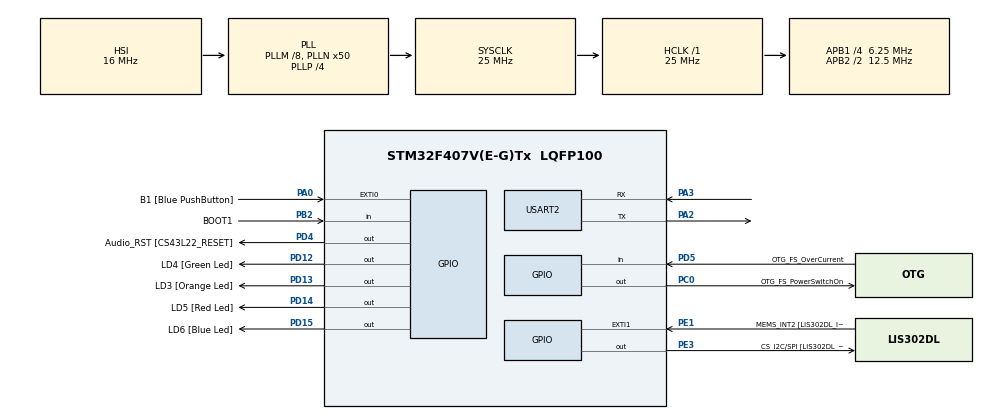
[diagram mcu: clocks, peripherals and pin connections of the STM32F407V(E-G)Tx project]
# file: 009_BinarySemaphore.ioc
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Mcu.Family=STM32F4
Mcu.Name=STM32F407V(E-G)Tx
Mcu.Package=LQFP100
NVIC.PriorityGroup=NVIC_PRIORITYGROUP_4
NVIC.TIM6_DAC_IRQn=true\:15\:0\:false\:false\:true\:false\:true\:true
NVIC.TimeBase=TIM6_DAC_IRQn
NVIC.TimeBaseIP=TIM6
PA0-WKUP.GPIO_Label=B1 [Blue PushButton]
PA0-WKUP.Signal=GPXTI0
PA10.GPIO_Label=OTG_FS_ID
PA10.GPIO_Mode=GPIO_MODE_AF_PP
PA10.GPIO_PuPd=GPIO_NOPULL
PA10.GPIO_Speed=GPIO_SPEED_FREQ_LOW
PA10.Signal=USB_OTG_FS_ID
PA11.GPIO_Label=OTG_FS_DM
PA11.GPIO_Mode=GPIO_MODE_AF_PP
PA11.GPIO_PuPd=GPIO_NOPULL
PA11.GPIO_Speed=GPIO_SPEED_FREQ_LOW
PA11.Signal=USB_OTG_FS_DM
PA12.GPIO_Label=OTG_FS_DP
PA12.GPIO_Mode=GPIO_MODE_AF_PP
PA12.GPIO_PuPd=GPIO_NOPULL
PA12.GPIO_Speed=GPIO_SPEED_FREQ_LOW
PA12.Signal=USB_OTG_FS_DP
PA13.GPIO_Label=SWDIO
PA13.Signal=SYS_JTMS-SWDIO
PA14.GPIO_Label=SWCLK
PA14.Signal=SYS_JTCK-SWCLK
PA2.Mode=Asynchronous
PA2.Signal=USART2_TX
PA3.Mode=Asynchronous
PA3.Signal=USART2_RX
PA4.GPIO_Label=I2S3_WS [CS43L22_LRCK]
PA4.GPIO_Mode=GPIO_MODE_AF_PP
PA4.GPIO_PuPd=GPIO_NOPULL
PA4.GPIO_Speed=GPIO_SPEED_FREQ_LOW
PA4.Signal=I2S3_WS
PA5.GPIO_Label=SPI1_SCK [LIS302DL_SCL/SPC]
PA5.GPIO_Mode=GPIO_MODE_AF_PP
PA5.GPIO_PuPd=GPIO_NOPULL
PA5.GPIO_Speed=GPIO_SPEED_FREQ_LOW
PA5.Signal=SPI1_SCK
PA6.GPIO_Label=SPI1_MISO [LIS302DL_SDO]
PA6.GPIO_Mode=GPIO_MODE_AF_PP
PA6.GPIO_PuPd=GPIO_NOPULL
PA6.GPIO_Speed=GPIO_SPEED_FREQ_LOW
PA6.Signal=SPI1_MISO
PA7.GPIO_Label=SPI1_MOSI [LIS302DL_SDA/SDI/SDO]
PA7.GPIO_Mode=GPIO_MODE_AF_PP
PA7.GPIO_PuPd=GPIO_NOPULL
PA7.GPIO_Speed=GPIO_SPEED_FREQ_LOW
PA7.Signal=SPI1_MOSI
PA9.GPIO_Label=VBUS_FS
PA9.GPIO_Mode=GPIO_MODE_INPUT
PA9.GPIO_PuPd=GPIO_NOPULL
PA9.Signal=USB_OTG_FS_VBUS
PB10.GPIO_Label=CLK_IN [MP45DT02_CLK]
PB10.GPIO_Mode=GPIO_MODE_AF_PP
PB10.GPIO_PuPd=GPIO_NOPULL
PB10.GPIO_Speed=GPIO_SPEED_FREQ_LOW
PB10.Signal=I2S2_CK
PB2.GPIO_Label=BOOT1
PB2.GPIO_Mode=GPIO_MODE_INPUT
PB2.GPIO_PuPd=GPIO_NOPULL
PB2.Signal=GPIO_Input
PB3.GPIO_Label=SWO
PB3.Signal=SYS_JTDO-SWO
PB6.GPIO_Label=Audio_SCL [CS43L22_SCL]
PB6.GPIO_Mode=GPIO_MODE_AF_OD
PB6.GPIO_PuPd=GPIO_NOPULL
PB6.GPIO_Speed=GPIO_SPEED_FREQ_LOW
PB6.Signal=I2C1_SCL
PB9.GPIO_Label=Audio_SDA [CS43L22_SDA]
PB9.GPIO_Mode=GPIO_MODE_AF_OD
PB9.GPIO_PuPd=GPIO_NOPULL
PB9.GPIO_Speed=GPIO_SPEED_FREQ_LOW
PB9.Signal=I2C1_SDA
PC0.GPIO_Label=OTG_FS_PowerSwitchOn
PC0.GPIO_PuPd=GPIO_NOPULL
PC0.GPIO_Speed=GPIO_SPEED_FREQ_LOW
PC0.PinState=GPIO_PIN_SET
PC0.Signal=GPIO_Output
PC10.GPIO_Label=I2S3_SCK [CS43L22_SCLK]
PC10.GPIO_Mode=GPIO_MODE_AF_PP
PC10.GPIO_PuPd=GPIO_NOPULL
PC10.GPIO_Speed=GPIO_SPEED_FREQ_LOW
PC10.Signal=I2S3_CK
PC12.GPIO_Label=I2S3_SD [CS43L22_SDIN]
PC12.GPIO_Mode=GPIO_MODE_AF_PP
PC12.GPIO_PuPd=GPIO_NOPULL
PC12.GPIO_Speed=GPIO_SPEED_FREQ_LOW
PC12.Signal=I2S3_SD
PC14-OSC32_IN.GPIO_Label=PC14-OSC32_IN
PC14-OSC32_IN.Signal=RCC_OSC32_IN
PC15-OSC32_OUT.GPIO_Label=PC15-OSC32_OUT
PC15-OSC32_OUT.Signal=RCC_OSC32_OUT
PC3.GPIO_Label=PDM_OUT [MP45DT02_DOUT]
PC3.GPIO_Mode=GPIO_MODE_AF_PP
PC3.GPIO_PuPd=GPIO_NOPULL
PC3.GPIO_Speed=GPIO_SPEED_FREQ_LOW
PC3.Signal=I2S2_SD
PC7.GPIO_Label=I2S3_MCK [CS43L22_MCLK]
PC7.GPIO_Mode=GPIO_MODE_AF_PP
PC7.GPIO_PuPd=GPIO_NOPULL
PC7.GPIO_Speed=GPIO_SPEED_FREQ_LOW
PC7.Signal=I2S3_MCK
PD12.GPIO_Label=LD4 [Green Led]
PD12.GPIO_PuPd=GPIO_NOPULL
PD12.GPIO_Speed=GPIO_SPEED_FREQ_LOW
PD12.Signal=GPIO_Output
PD13.GPIO_Label=LD3 [Orange Led]
PD13.GPIO_PuPd=GPIO_NOPULL
PD13.GPIO_Speed=GPIO_SPEED_FREQ_LOW
PD13.Signal=GPIO_Output
PD14.GPIO_Label=LD5 [Red Led]
PD14.GPIO_PuPd=GPIO_NOPULL
PD14.GPIO_Speed=GPIO_SPEED_FREQ_LOW
PD14.Signal=GPIO_Output
PD15.GPIO_Label=LD6 [Blue Led]
PD15.GPIO_PuPd=GPIO_NOPULL
PD15.GPIO_Speed=GPIO_SPEED_FREQ_LOW
PD15.Signal=GPIO_Output
PD4.GPIO_Label=Audio_RST [CS43L22_RESET]
PD4.GPIO_PuPd=GPIO_NOPULL
PD4.GPIO_Speed=GPIO_SPEED_FREQ_LOW
PD4.Signal=GPIO_Output
PD5.GPIO_Label=OTG_FS_OverCurrent
PD5.GPIO_Mode=GPIO_MODE_INPUT
PD5.GPIO_PuPd=GPIO_NOPULL
PD5.Signal=GPIO_Input
PE1.GPIO_Label=MEMS_INT2 [LIS302DL_INT2]
PE1.GPIO_ModeDefaultEXTI=GPIO_MODE_EVT_RISING
PE1.GPIO_PuPd=GPIO_NOPULL
PE1.Signal=GPXTI1
PE3.GPIO_Label=CS_I2C/SPI [LIS302DL_CS_I2C/SPI]
PE3.GPIO_PuPd=GPIO_NOPULL
PE3.GPIO_Speed=GPIO_SPEED_FREQ_LOW
PE3.Signal=GPIO_Output
PH0-OSC_IN.GPIO_Label=PH0-OSC_IN
PH0-OSC_IN.Signal=RCC_OSC_IN
PH1-OSC_OUT.GPIO_Label=PH1-OSC_OUT
PH1-OSC_OUT.Signal=RCC_OSC_OUT
ProjectManager.HeapSize=0x200
ProjectManager.StackSize=0x400
ProjectManager.TargetToolchain=STM32CubeIDE
RCC.48MHZClocksFreq_Value=14285714.285714285
RCC.AHBFreq_Value=25000000
RCC.APB1CLKDivider=RCC_HCLK_DIV4
RCC.APB1Freq_Value=6250000
RCC.APB1TimFreq_Value=12500000
RCC.APB2CLKDivider=RCC_HCLK_DIV2
RCC.APB2Freq_Value=12500000
RCC.APB2TimFreq_Value=25000000
RCC.CortexFreq_Value=25000000
RCC.HCLKFreq_Value=25000000
RCC.HSE_VALUE=8000000
RCC.HSI_VALUE=16000000
RCC.LSE_VALUE=32768
RCC.PLLM=8
RCC.PLLN=50
RCC.PLLP=RCC_PLLP_DIV4
RCC.PLLQ=7
RCC.SYSCLKFreq_VALUE=25000000
RCC.SYSCLKSource=RCC_SYSCLKSOURCE_PLLCLK
RCC.VCOOutputFreq_Value=100000000
USART2.VirtualMode=VM_ASYNC
VP_SYS_VS_tim6.Mode=TIM6
board=STM32F407G-DISC1

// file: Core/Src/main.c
/* USER CODE BEGIN Header */
/**
  ******************************************************************************
  * @file           : main.c
  * @brief          : Main program body
  ******************************************************************************
  * @attention
  *
  * Copyright (c) 2025 STMicroelectronics.
  * All rights reserved.
  *
  * This software is licensed under terms that can be found in the LICENSE file
  * in the root directory of this software component.
  * If no LICENSE file comes with this software, it is provided AS-IS.
  *
  ******************************************************************************
  */
/* USER CODE END Header */
#include "main.h"

/* USER CODE BEGIN Includes */
#include "FreeRTOS.h"
#include "task.h"
#include "semphr.h"
#include "queue.h"
#include <stdio.h>
#include <stdlib.h>
#include <string.h>
/* USER CODE END Includes */

UART_HandleTypeDef huart2;

void SystemClock_Config(void);
static void MX_GPIO_Init(void);
static void MX_USART2_UART_Init(void);

/* USER CODE BEGIN 0 */
char usr_msg[250]={0};

TaskHandle_t xTaskHandleM = NULL;
TaskHandle_t xTaskHandleE = NULL;

void printmsg(char *msg);

/* The tasks to be created. */
static void vManagerTask( void *pvParameters );
static void vEmployeeTask( void *pvParameters );

/* Declare a variable of type xSemaphoreHandle.  This is used to reference the
semaphore that is used to synchronize both manager and employee task */
xSemaphoreHandle xWork;

/* this is the queue which manager uses to put the work ticket id */
xQueueHandle xWorkQueue;

/* USER CODE END 0 */

int main(void)
{

  /* MCU Configuration--------------------------------------------------------*/

  /* Reset of all peripherals, Initializes the Flash interface and the Systick. */
  HAL_Init();

  /* Configure the system clock */
  SystemClock_Config();

  /* Initialize all configured peripherals */
  MX_GPIO_Init();
  MX_USART2_UART_Init();
  /* USER CODE BEGIN 2 */

  vSemaphoreCreateBinary(xWork);

  xWorkQueue = xQueueCreate(1, sizeof(unsigned int));

  if (xWork != NULL && xWorkQueue != NULL)
  {
	  xTaskCreate(vManagerTask, "Manager", 500, NULL, 3, NULL);
	  xTaskCreate(vEmployeeTask, "Employee", 500, NULL, 1, NULL);
	  /* Start the scheduler so the created tasks start executing. */
	 vTaskStartScheduler();
  }
  /* USER CODE END 2 */

  /* Infinite loop */
  while (1)
  {

  }
}

void SystemClock_Config(void)
{
  RCC_OscInitTypeDef RCC_OscInitStruct = {0};
  RCC_ClkInitTypeDef RCC_ClkInitStruct = {0};

  /** Configure the main internal regulator output voltage
  */
  __HAL_RCC_PWR_CLK_ENABLE();
  __HAL_PWR_VOLTAGESCALING_CONFIG(PWR_REGULATOR_VOLTAGE_SCALE1);

  /** Initializes the RCC Oscillators according to the specified parameters
  * in the RCC_OscInitTypeDef structure.
  */
  RCC_OscInitStruct.OscillatorType = RCC_OSCILLATORTYPE_HSI;
  RCC_OscInitStruct.HSIState = RCC_HSI_ON;
  RCC_OscInitStruct.HSICalibrationValue = RCC_HSICALIBRATION_DEFAULT;
  RCC_OscInitStruct.PLL.PLLState = RCC_PLL_ON;
  RCC_OscInitStruct.PLL.PLLSource = RCC_PLLSOURCE_HSI;
  RCC_OscInitStruct.PLL.PLLM = 8;
  RCC_OscInitStruct.PLL.PLLN = 50;
  RCC_OscInitStruct.PLL.PLLP = RCC_PLLP_DIV4;
  RCC_OscInitStruct.PLL.PLLQ = 7;
  if (HAL_RCC_OscConfig(&RCC_OscInitStruct) != HAL_OK)
  {
    Error_Handler();
  }

  /** Initializes the CPU, AHB and APB buses clocks
  */
  RCC_ClkInitStruct.ClockType = RCC_CLOCKTYPE_HCLK|RCC_CLOCKTYPE_SYSCLK
                              |RCC_CLOCKTYPE_PCLK1|RCC_CLOCKTYPE_PCLK2;
  RCC_ClkInitStruct.SYSCLKSource = RCC_SYSCLKSOURCE_PLLCLK;
  RCC_ClkInitStruct.AHBCLKDivider = RCC_SYSCLK_DIV1;
  RCC_ClkInitStruct.APB1CLKDivider = RCC_HCLK_DIV4;
  RCC_ClkInitStruct.APB2CLKDivider = RCC_HCLK_DIV2;

  if (HAL_RCC_ClockConfig(&RCC_ClkInitStruct, FLASH_LATENCY_0) != HAL_OK)
  {
    Error_Handler();
  }
}

static void MX_USART2_UART_Init(void)
{

  huart2.Instance = USART2;
  huart2.Init.BaudRate = 115200;
  huart2.Init.WordLength = UART_WORDLENGTH_8B;
  huart2.Init.StopBits = UART_STOPBITS_1;
  huart2.Init.Parity = UART_PARITY_NONE;
  huart2.Init.Mode = UART_MODE_TX_RX;
  huart2.Init.HwFlowCtl = UART_HWCONTROL_NONE;
  huart2.Init.OverSampling = UART_OVERSAMPLING_16;
  if (HAL_UART_Init(&huart2) != HAL_OK)
  {
    Error_Handler();
  }

}

static void MX_GPIO_Init(void)
{
  GPIO_InitTypeDef GPIO_InitStruct = {0};

  /* GPIO Ports Clock Enable */
  __HAL_RCC_GPIOE_CLK_ENABLE();
  __HAL_RCC_GPIOC_CLK_ENABLE();
  __HAL_RCC_GPIOH_CLK_ENABLE();
  __HAL_RCC_GPIOA_CLK_ENABLE();
  __HAL_RCC_GPIOB_CLK_ENABLE();
  __HAL_RCC_GPIOD_CLK_ENABLE();

  /*Configure GPIO pin Output Level */
  HAL_GPIO_WritePin(CS_I2C_SPI_GPIO_Port, CS_I2C_SPI_Pin, GPIO_PIN_RESET);

  /*Configure GPIO pin Output Level */
  HAL_GPIO_WritePin(OTG_FS_PowerSwitchOn_GPIO_Port, OTG_FS_PowerSwitchOn_Pin, GPIO_PIN_SET);

  /*Configure GPIO pin Output Level */
  HAL_GPIO_WritePin(GPIOD, LD4_Pin|LD3_Pin|LD5_Pin|LD6_Pin
                          |Audio_RST_Pin, GPIO_PIN_RESET);

  /*Configure GPIO pin : CS_I2C_SPI_Pin */
  GPIO_InitStruct.Pin = CS_I2C_SPI_Pin;
  GPIO_InitStruct.Mode = GPIO_MODE_OUTPUT_PP;
  GPIO_InitStruct.Pull = GPIO_NOPULL;
  GPIO_InitStruct.Speed = GPIO_SPEED_FREQ_LOW;
  HAL_GPIO_Init(CS_I2C_SPI_GPIO_Port, &GPIO_InitStruct);

  /*Configure GPIO pin : OTG_FS_PowerSwitchOn_Pin */
  GPIO_InitStruct.Pin = OTG_FS_PowerSwitchOn_Pin;
  GPIO_InitStruct.Mode = GPIO_MODE_OUTPUT_PP;
  GPIO_InitStruct.Pull = GPIO_NOPULL;
  GPIO_InitStruct.Speed = GPIO_SPEED_FREQ_LOW;
  HAL_GPIO_Init(OTG_FS_PowerSwitchOn_GPIO_Port, &GPIO_InitStruct);

  /*Configure GPIO pin : PDM_OUT_Pin */
  GPIO_InitStruct.Pin = PDM_OUT_Pin;
  GPIO_InitStruct.Mode = GPIO_MODE_AF_PP;
  GPIO_InitStruct.Pull = GPIO_NOPULL;
  GPIO_InitStruct.Speed = GPIO_SPEED_FREQ_LOW;
  GPIO_InitStruct.Alternate = GPIO_AF5_SPI2;
  HAL_GPIO_Init(PDM_OUT_GPIO_Port, &GPIO_InitStruct);

  /*Configure GPIO pin : B1_Pin */
  GPIO_InitStruct.Pin = B1_Pin;
  GPIO_InitStruct.Mode = GPIO_MODE_IT_RISING;
  GPIO_InitStruct.Pull = GPIO_NOPULL;
  HAL_GPIO_Init(B1_GPIO_Port, &GPIO_InitStruct);

  /*Configure GPIO pin : I2S3_WS_Pin */
  GPIO_InitStruct.Pin = I2S3_WS_Pin;
  GPIO_InitStruct.Mode = GPIO_MODE_AF_PP;
  GPIO_InitStruct.Pull = GPIO_NOPULL;
  GPIO_InitStruct.Speed = GPIO_SPEED_FREQ_LOW;
  GPIO_InitStruct.Alternate = GPIO_AF6_SPI3;
  HAL_GPIO_Init(I2S3_WS_GPIO_Port, &GPIO_InitStruct);

  /*Configure GPIO pins : SPI1_SCK_Pin SPI1_MISO_Pin SPI1_MOSI_Pin */
  GPIO_InitStruct.Pin = SPI1_SCK_Pin|SPI1_MISO_Pin|SPI1_MOSI_Pin;
  GPIO_InitStruct.Mode = GPIO_MODE_AF_PP;
  GPIO_InitStruct.Pull = GPIO_NOPULL;
  GPIO_InitStruct.Speed = GPIO_SPEED_FREQ_LOW;
  GPIO_InitStruct.Alternate = GPIO_AF5_SPI1;
  HAL_GPIO_Init(GPIOA, &GPIO_InitStruct);

  /*Configure GPIO pin : BOOT1_Pin */
  GPIO_InitStruct.Pin = BOOT1_Pin;
  GPIO_InitStruct.Mode = GPIO_MODE_INPUT;
  GPIO_InitStruct.Pull = GPIO_NOPULL;
  HAL_GPIO_Init(BOOT1_GPIO_Port, &GPIO_InitStruct);

  /*Configure GPIO pin : CLK_IN_Pin */
  GPIO_InitStruct.Pin = CLK_IN_Pin;
  GPIO_InitStruct.Mode = GPIO_MODE_AF_PP;
  GPIO_InitStruct.Pull = GPIO_NOPULL;
  GPIO_InitStruct.Speed = GPIO_SPEED_FREQ_LOW;
  GPIO_InitStruct.Alternate = GPIO_AF5_SPI2;
  HAL_GPIO_Init(CLK_IN_GPIO_Port, &GPIO_InitStruct);

  /*Configure GPIO pins : LD4_Pin LD3_Pin LD5_Pin LD6_Pin
                           Audio_RST_Pin */
  GPIO_InitStruct.Pin = LD4_Pin|LD3_Pin|LD5_Pin|LD6_Pin
                          |Audio_RST_Pin;
  GPIO_InitStruct.Mode = GPIO_MODE_OUTPUT_PP;
  GPIO_InitStruct.Pull = GPIO_NOPULL;
  GPIO_InitStruct.Speed = GPIO_SPEED_FREQ_LOW;
  HAL_GPIO_Init(GPIOD, &GPIO_InitStruct);

  /*Configure GPIO pins : I2S3_MCK_Pin I2S3_SCK_Pin I2S3_SD_Pin */
  GPIO_InitStruct.Pin = I2S3_MCK_Pin|I2S3_SCK_Pin|I2S3_SD_Pin;
  GPIO_InitStruct.Mode = GPIO_MODE_AF_PP;
  GPIO_InitStruct.Pull = GPIO_NOPULL;
  GPIO_InitStruct.Speed = GPIO_SPEED_FREQ_LOW;
  GPIO_InitStruct.Alternate = GPIO_AF6_SPI3;
  HAL_GPIO_Init(GPIOC, &GPIO_InitStruct);

  /*Configure GPIO pin : VBUS_FS_Pin */
  GPIO_InitStruct.Pin = VBUS_FS_Pin;
  GPIO_InitStruct.Mode = GPIO_MODE_INPUT;
  GPIO_InitStruct.Pull = GPIO_NOPULL;
  HAL_GPIO_Init(VBUS_FS_GPIO_Port, &GPIO_InitStruct);

  /*Configure GPIO pins : OTG_FS_ID_Pin OTG_FS_DM_Pin OTG_FS_DP_Pin */
  GPIO_InitStruct.Pin = OTG_FS_ID_Pin|OTG_FS_DM_Pin|OTG_FS_DP_Pin;
  GPIO_InitStruct.Mode = GPIO_MODE_AF_PP;
  GPIO_InitStruct.Pull = GPIO_NOPULL;
  GPIO_InitStruct.Speed = GPIO_SPEED_FREQ_LOW;
  GPIO_InitStruct.Alternate = GPIO_AF10_OTG_FS;
  HAL_GPIO_Init(GPIOA, &GPIO_InitStruct);

  /*Configure GPIO pin : OTG_FS_OverCurrent_Pin */
  GPIO_InitStruct.Pin = OTG_FS_OverCurrent_Pin;
  GPIO_InitStruct.Mode = GPIO_MODE_INPUT;
  GPIO_InitStruct.Pull = GPIO_NOPULL;
  HAL_GPIO_Init(OTG_FS_OverCurrent_GPIO_Port, &GPIO_InitStruct);

  /*Configure GPIO pins : Audio_SCL_Pin Audio_SDA_Pin */
  GPIO_InitStruct.Pin = Audio_SCL_Pin|Audio_SDA_Pin;
  GPIO_InitStruct.Mode = GPIO_MODE_AF_OD;
  GPIO_InitStruct.Pull = GPIO_NOPULL;
  GPIO_InitStruct.Speed = GPIO_SPEED_FREQ_LOW;
  GPIO_InitStruct.Alternate = GPIO_AF4_I2C1;
  HAL_GPIO_Init(GPIOB, &GPIO_InitStruct);

  /*Configure GPIO pin : MEMS_INT2_Pin */
  GPIO_InitStruct.Pin = MEMS_INT2_Pin;
  GPIO_InitStruct.Mode = GPIO_MODE_EVT_RISING;
  GPIO_InitStruct.Pull = GPIO_NOPULL;
  HAL_GPIO_Init(MEMS_INT2_GPIO_Port, &GPIO_InitStruct);

}

/* USER CODE BEGIN 4 */
static void vManagerTask( void *pvParameters )
{
	unsigned int xWorkTicketId;
	portBASE_TYPE xStatus;

	xSemaphoreGive(xWork);
	while (1)
	{
		xWorkTicketId = (rand() & 0x1F);
		xStatus = xQueueSend(xWorkQueue, &xWorkTicketId, portMAX_DELAY);
		if (xStatus != pdPASS)
		{
			sprintf(usr_msg,"Could not send to the queue.\r\n");
			 printmsg(usr_msg);
		}else {
			xSemaphoreGive( xWork);
			taskYIELD();
		}
	}
}

void EmployeeDoWork(unsigned char TicketId)
{
	/* implement the work according to TickedID */
	sprintf(usr_msg,"Employee task : Working on Ticked id : %d\r\n",TicketId);
	printmsg(usr_msg);
	vTaskDelay(TicketId);
}

static void vEmployeeTask( void *pvParameters)
{
	unsigned char xWorkTicketId;
	portBASE_TYPE xStatus;
	while (1)
	{
		xSemaphoreTake(xWork, 0);
		xStatus = xQueueReceive( xWorkQueue, &xWorkTicketId, 0 );
		if( xStatus == pdPASS )
		{
			/* employee may decode the xWorkTicketId in this function to do the work*/
			EmployeeDoWork(xWorkTicketId);
		}
		else
		{
			/* We did not receive anything from the queue.  This must be an error as this task should only run when the manager assigns at least one work. */
			sprintf(usr_msg,"Employee task : Queue is empty , nothing to do.\r\n");
			printmsg(usr_msg);
		}
	}
}

void printmsg(char *msg)
{
	for(uint32_t i=0; i < strlen(msg); i++)
	{
		HAL_UART_Transmit(&huart2, (uint8_t*)&msg[i], 1, HAL_MAX_DELAY);
	}
}
/* USER CODE END 4 */

void HAL_TIM_PeriodElapsedCallback(TIM_HandleTypeDef *htim)
{
  if (htim->Instance == TIM6)
  {
    HAL_IncTick();
  }
}

void Error_Handler(void)
{
  __disable_irq();
  while (1)
  {
  }
}
